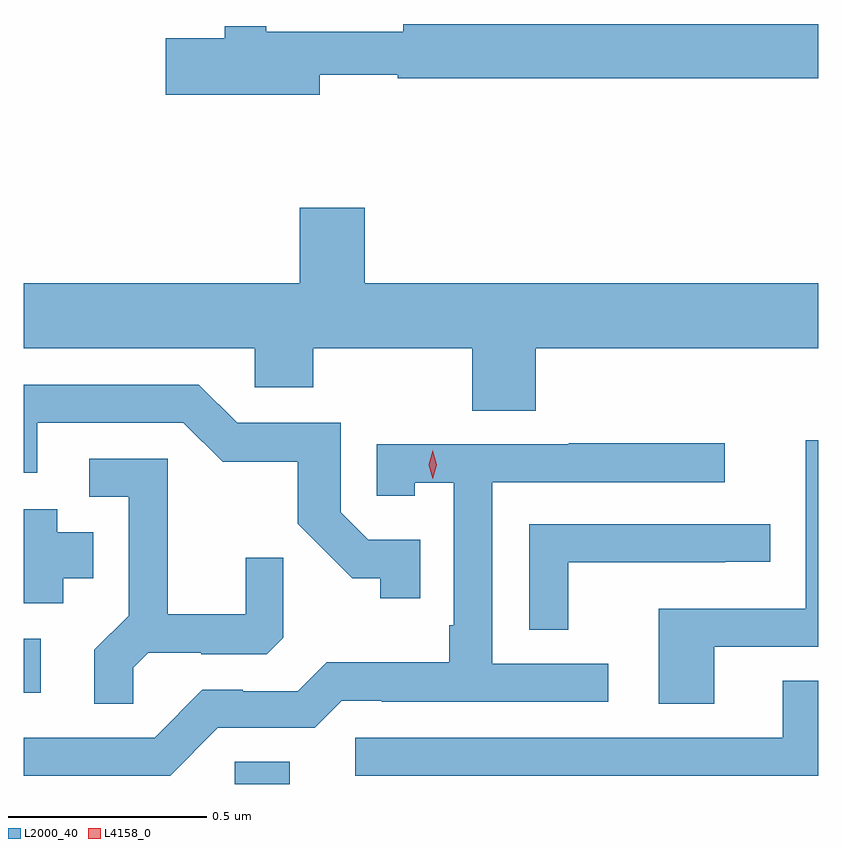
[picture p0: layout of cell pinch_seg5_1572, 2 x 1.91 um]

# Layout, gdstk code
import gdstk
lib = gdstk.Library(unit=1e-6, precision=1e-09)
def R(c, l, rs):  # rectangles x0, y0, x1, y1
    for r in rs: c.add(gdstk.rectangle(r[:2], r[2:], *l))
def P(c, l, *ps):  # polygons
    for p in ps: c.add(gdstk.Polygon(p, *l))
L2000_40 = (2000, 40)
L4158_0 = (4158, 0)

pinch_seg5_1572 = lib.new_cell('pinch_seg5_1572')
R(pinch_seg5_1572, L2000_40, [(320.688,847.671,320.827,847.727), (320.157,847.901,320.2,848.037)])
P(pinch_seg5_1572, L2000_40, [(320.902,849.456),(321.098,849.456),(321.098,849.448),(322.157,849.448),(322.157,849.584),(321.112,849.584),(321.112,849.565),(320.767,849.565),(320.767,849.578),(320.663,849.578),(320.663,849.548),(320.514,849.548),(320.514,849.406),(320.902,849.406)],
  [(321.446,848.768),(322.157,848.768),(322.157,848.932),(321.016,848.932),(321.016,849.121),(320.852,849.121),(320.852,848.932),(320.157,848.932),(320.157,848.768),(320.739,848.768),(320.739,848.67),(320.886,848.67),(320.886,848.768),(321.286,848.768),(321.286,848.611),(321.446,848.611)],
  [(321.155,848.286),(321.024,848.286),(320.955,848.355),(320.955,848.58),(320.694,848.58),(320.598,848.676),(320.157,848.676),(320.157,848.454),(320.191,848.454),(320.191,848.58),(320.559,848.58),(320.658,848.482),(320.847,848.482),(320.847,848.326),(320.984,848.189),(321.054,848.189),(321.054,848.139),(321.155,848.139)],
  [(321.895,848.016),(322.157,848.016),(322.157,848.536),(322.125,848.536),(322.125,848.112),(321.755,848.112),(321.755,847.873),(321.895,847.873)],
  [(320.646,847.812),(320.889,847.812),(320.958,847.881),(321.058,847.881),(321.058,847.878),(321.628,847.878),(321.628,847.974),(321.336,847.974),(321.336,848.43),(321.922,848.43),(321.922,848.529),(321.529,848.529),(321.529,848.526),(321.045,848.526),(321.045,848.397),(321.141,848.397),(321.141,848.429),(321.24,848.429),(321.24,848.071),(321.228,848.071),(321.228,847.978),(320.92,847.978),(320.847,847.905),(320.708,847.905),(320.708,847.908),(320.607,847.908),(320.487,847.788),(320.157,847.788),(320.157,847.692),(320.526,847.692)],
  [(320.433,847.964),(320.47,848.001),(320.604,848.001),(320.604,847.998),(320.769,847.998),(320.81,848.039),(320.81,848.241),(320.716,848.241),(320.716,848.098),(320.519,848.098),(320.519,848.49),(320.322,848.49),(320.322,848.394),(320.421,848.394),(320.421,848.095),(320.335,848.009),(320.335,847.873),(320.433,847.873)],
  [(320.257,848.189),(320.332,848.189),(320.332,848.305),(320.242,848.305),(320.242,848.362),(320.157,848.362),(320.157,848.126),(320.257,848.126)],
  [(321.528,848.229),(321.923,848.229),(321.923,848.23),(322.036,848.23),(322.036,848.325),(321.429,848.325),(321.429,848.059),(321.528,848.059)],
  [(322.157,847.931),(322.067,847.931),(322.067,847.788),(320.991,847.788),(320.991,847.692),(322.157,847.692)])
P(pinch_seg5_1572, L4158_0, [(321.186,848.439),(321.177,848.475),(321.186,848.51),(321.187,848.511),(321.187,848.51),(321.197,848.475),(321.187,848.439),(321.187,848.439)])

lib.write_gds('pinch_seg5_1572.gds')
